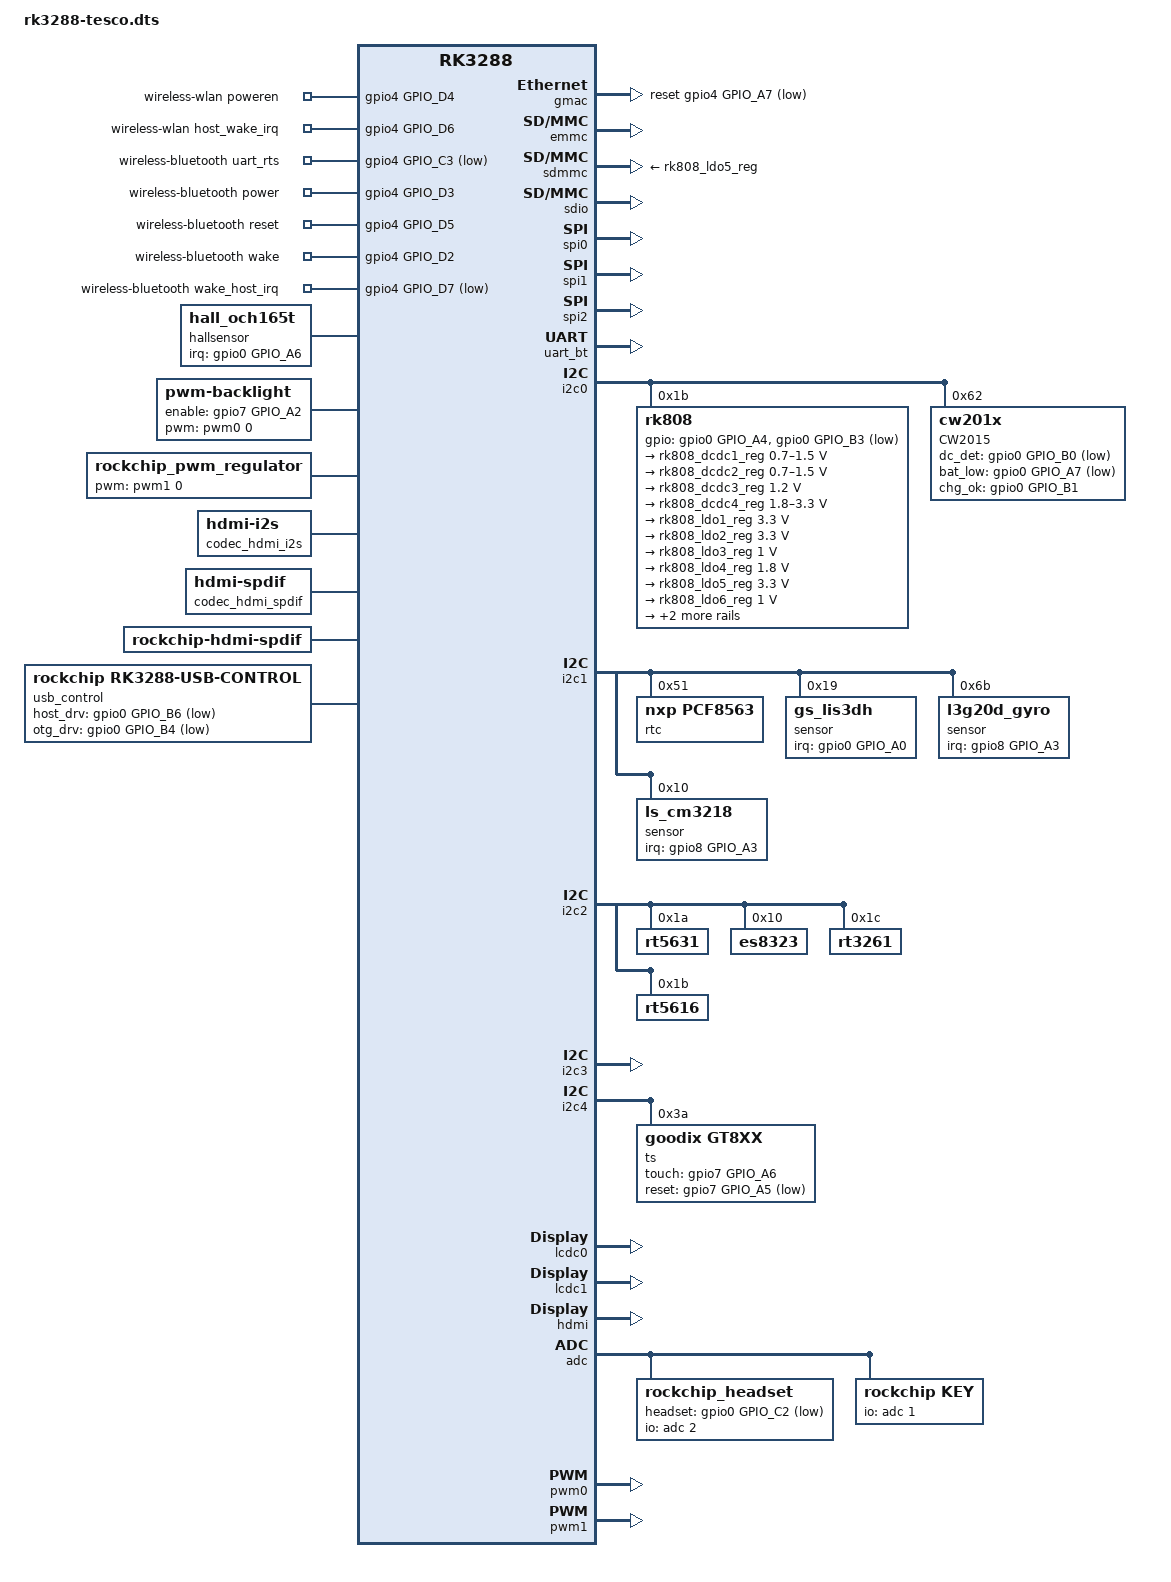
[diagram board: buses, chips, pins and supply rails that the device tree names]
/dts-v1/;

#include "rk3288.dtsi"
//#include "lcd-b101ew05.dtsi"
#include "lcd-ld089wu1-mipi.dtsi"
/ {
	fiq-debugger {
		status = "okay";
	};

    wireless-wlan {
        compatible = "wlan-platdata";

        wifi_chip_type = "";
        sdio_vref = <1800>; //1800mv or 3300mv

        //power_ctrl_by_pmu;
        pmu_regulator = "act_ldo3";
        pmu_enable_level = <1>; //1->HIGH, 0->LOW

        WIFI,poweren_gpio = <&gpio4 GPIO_D4 GPIO_ACTIVE_HIGH>;
        WIFI,host_wake_irq = <&gpio4 GPIO_D6 GPIO_ACTIVE_HIGH>;
        //WIFI,reset_gpio = <&gpio0 GPIO_A2 GPIO_ACTIVE_LOW>;

        status = "okay";
    };

    wireless-bluetooth {
        compatible = "bluetooth-platdata";

        uart_rts_gpios = <&gpio4 GPIO_C3 GPIO_ACTIVE_LOW>;
        pinctrl-names = "default","rts_gpio";
        pinctrl-0 = <&uart0_rts>;
        pinctrl-1 = <&uart0_rts_gpio>;

        BT,power_gpio = <&gpio4 GPIO_D3 GPIO_ACTIVE_HIGH>;
        BT,reset_gpio = <&gpio4 GPIO_D5 GPIO_ACTIVE_HIGH>;
        BT,wake_gpio = <&gpio4 GPIO_D2 GPIO_ACTIVE_HIGH>;
        BT,wake_host_irq = <&gpio4 GPIO_D7 GPIO_ACTIVE_LOW>;

        status = "okay";
    };

    hallsensor {
               compatible = "hall_och165t";
               type = <SENSOR_TYPE_HALL>;
               irq-gpio = <&gpio0 GPIO_A6 IRQ_TYPE_EDGE_BOTH>;
     };

	backlight {
		compatible = "pwm-backlight";
		pwms = <&pwm0 0 25000>;
		brightness-levels = <255 254 253 252 251 250 249 248 247 246 245 244 243 242 241 240 239 238 237 236 235 234 233 232 231 230 229 228 227 226 225 224 223 222 221 220 219 218 217 216 215 214 213 212 211 210 209 208 207 206 205 204 203 202 201 200 199 198 197 196 195 194 193 192 191 190 189 188 187 186 185 184 183 182 181 180 179 178 177 176 175 174 173 172 171 170 169 168 167 166 165 164 163 162 161 160 159 158 157 156 155 154 153 152 151 150 149 148 147 146 145 144 143 142 141 140 139 138 137 136 135 134 133 132 131 130 129 128 127 126 125 124 123 122 121 120 119 118 117 116 115 114 113 112 111 110 109 108 107 106 105 104 103 102 101 100 99 98 97 96 95 94 93 92 91 90 89 88 87 86 85 84 83 82 81 80 79 78 77 76 75 74 73 72 71 70 69 68 67 66 65 64 63 62 61 60 59 58 57 56 55 54 53 52 51 50 49 48 47 46 45 44 43 42 41 40 39 38 37 36 35 34 33 32 31 30 29 28 27 26 25 24 23 22 21 20 19 18 17 16 15 14 13 12 11 10 9 8 7 6 5 4 3 2 1 0>;
		default-brightness-level = <200>;
		enable-gpios = <&gpio7 GPIO_A2 GPIO_ACTIVE_HIGH>;
	};

	pwm_regulator {
		compatible = "rockchip_pwm_regulator";
		pwms = <&pwm1 0 25000>;
		rockchip,pwm_id= <1>;
		rockchip,pwm_voltage_map= <925000 950000 975000 1000000 1025000 1050000 1075000 1100000 1125000 1150000 1175000 1200000 1225000 1250000 1275000 1300000 1325000 1350000 1375000 1400000>;
		rockchip,pwm_voltage= <1000000>;
		rockchip,pwm_min_voltage= <925000>;
		rockchip,pwm_max_voltage= <1400000>;
		rockchip,pwm_suspend_voltage= <950000>;
		rockchip,pwm_coefficient= <475>;
		regulators {
			#address-cells = <1>;
			#size-cells = <0>;
			pwm_reg0: regulator@0 {
				regulator-compatible = "pwm_dcdc1";
				regulator-name= "vdd_logic";
				regulator-min-microvolt = <925000>;
				regulator-max-microvolt = <1400000>;
				regulator-always-on;
				regulator-boot-on;
			};
		};
	};

	codec_hdmi_i2s: codec-hdmi-i2s {
		compatible = "hdmi-i2s";
	};

	codec_hdmi_spdif: codec-hdmi-spdif {
		compatible = "hdmi-spdif";
	};

	rockchip-hdmi-i2s {
		compatible = "rockchip-hdmi-i2s";
		dais {
			dai0 {
				audio-codec = <&codec_hdmi_i2s>;
				audio-controller = <&i2s>;
				format = "i2s";
				//continuous-clock;
				//bitclock-inversion;
				//frame-inversion;
				//bitclock-master;
				//frame-master;
			};
		};
	};
	
	rockchip-hdmi-spdif {
		compatible = "rockchip-hdmi-spdif";
		dais {
			dai0 {
				audio-codec = <&codec_hdmi_spdif>;
				audio-controller = <&spdif>;
				format = "spdif";
				//continuous-clock;
				//bitclock-inversion;
				//frame-inversion;
				//bitclock-master;
				//frame-master;
			};
		};		
	};

	rockchip-rt5631 {
		compatible = "rockchip-rt5631";
		dais {
			dai0 {
				audio-codec = <&rt5631>;
				audio-controller = <&i2s>;
				format = "i2s";
				//continuous-clock;
				//bitclock-inversion;
				//frame-inversion;
				//bitclock-master;
				//frame-master;
			};
		};
	};

	rockchip-rt3224 {
		compatible = "rockchip-rt3261";
		dais {
			dai0 {
				audio-codec = <&rt3261>;
				audio-controller = <&i2s>;
				format = "i2s";
				//continuous-clock;
				//bitclock-inversion;
				//frame-inversion;
				//bitclock-master;
				//frame-master;
			};
			dai1 {
				audio-codec = <&rt3261>;
				audio-controller = <&i2s>;
				format = "i2s";
				//continuous-clock;
				//bitclock-inversion;
				//frame-inversion;
				//bitclock-master;
				//frame-master;
			};
		};
	};

	usb_control {
		compatible = "rockchip,rk3288-usb-control";

		host_drv_gpio = <&gpio0 GPIO_B6 GPIO_ACTIVE_LOW>;
		otg_drv_gpio = <&gpio0 GPIO_B4 GPIO_ACTIVE_LOW>;

		rockchip,remote_wakeup;
		rockchip,usb_irq_wakeup;
	};
};

&gmac {
//	power_ctl_by = "gpio";	//"gpio" "pmu"
	power-gpio = <&gpio0 GPIO_A6 GPIO_ACTIVE_HIGH>;
//	power-pmu = "act_ldo"
	reset-gpio = <&gpio4 GPIO_A7 GPIO_ACTIVE_LOW>;
};

&pinctrl {
	gpio0_gpio {
			gpio0_c2: gpio0-c2 {
				rockchip,pins = <GPIO0_C2>;
				rockchip,pull = <VALUE_PULL_DOWN>;
			};

			//to add
		};
		
	gpio7_gpio {
			gpio7_b7: gpio7-b7 {
				rockchip,pins = <GPIO7_B7>;
				rockchip,pull = <VALUE_PULL_UP>;
			};

			//to add
		};
	//could add other pinctrl definition such as gpio

};

&emmc {
	clock-frequency = <150000000>;
	clock-freq-min-max = <400000 150000000>;
        supports-highspeed;
	supports-emmc;
        bootpart-no-access;

	supports-DDR_MODE;
	caps2-mmc-hs200;

        ignore-pm-notify;
	keep-power-in-suspend;
    	status = "okay";
};
    
&sdmmc {
		clock-frequency = <50000000>;
		lock-freq-min-max = <400000 50000000>;
		supports-highspeed;
		supports-sd;
		broken-cd;
		card-detect-delay = <200>;

		ignore-pm-notify;
        	keep-power-in-suspend;
	
        	vmmc-supply = <&rk808_ldo5_reg>;
		status = "okay";
};
		
&sdio {
		clock-frequency = <50000000>;
		clock-freq-min-max = <200000 50000000>;
		supports-highspeed;
		supports-sdio;
		ignore-pm-notify;
		keep-power-in-suspend;
		//cap-sdio-irq;
		status = "okay";
};

&spi0 {
	status = "okay";
	max-freq = <48000000>;	
	/*
	spi_test@00 {
     		compatible = "rockchip,spi_test_bus0_cs0";
                reg = <0>;
                spi-max-frequency = <24000000>;
                //spi-cpha;
		//spi-cpol;
                poll_mode = <0>;
	        type = <0>;
		enable_dma = <0>;

	};

	spi_test@01 {
	        compatible = "rockchip,spi_test_bus0_cs1";
	        reg = <1>;
	        spi-max-frequency = <24000000>;
	        spi-cpha;
		spi-cpol;
	        poll_mode = <0>;
	        type = <0>;
		enable_dma = <0>;	        
	};
	*/
};

&spi1 {
	status = "okay";
	max-freq = <48000000>;
	/*
	spi_test@10 {
	        compatible = "rockchip,spi_test_bus1_cs0";
	        reg = <0>;
	        spi-max-frequency = <24000000>;
	        //spi-cpha;
		//spi-cpol;
	        poll_mode = <0>;
	        type = <0>;
		enable_dma = <0>;
	};

	*/
};

&spi2 {
	status = "okay";
	max-freq = <48000000>;
	/*
	spi_test@20 {
	        compatible = "rockchip,spi_test_bus2_cs0";
	        reg = <0>;
	        spi-max-frequency = <24000000>;
	        //spi-cpha;
		//spi-cpol;
	        poll_mode = <0>;
	        type = <0>;
		enable_dma = <0>;
	};

	spi_test@21 {
	        compatible = "rockchip,spi_test_bus2_cs1";
	        reg = <1>;
	        spi-max-frequency = <24000000>;
	        //spi-cpha;
		//spi-cpol;
	        poll_mode = <0>;
	        type = <0>;
		enable_dma = <0>;
	};
	*/
};

&uart_bt {
        status = "okay";
        dma-names = "!tx", "!rx";
        pinctrl-0 = <&uart0_xfer &uart0_cts>;
};

&i2c0 {
	status = "okay";
	rk808: rk808@1b {
		reg = <0x1b>;
		status = "okay";
	};
	

	CW2015@62 {
		compatible = "cw201x";
		reg = <0x62>;
		dc_det_gpio = <&gpio0 GPIO_B0 GPIO_ACTIVE_LOW>;
		bat_low_gpio = <&gpio0 GPIO_A7 GPIO_ACTIVE_LOW>;
		chg_ok_gpio = <&gpio0 GPIO_B1 GPIO_ACTIVE_HIGH>;
		bat_config_info = <0x15 0x42 0x60 0x59 0x52 0x58 0x4D 0x48 0x48 0x44 0x44 0x46 0x49 0x48 0x32
			0x24 0x20 0x17 0x13 0x0F 0x19 0x3E 0x51 0x45 0x08 0x76 0x0B 0x85 0x0E 0x1C 0x2E 0x3E 0x4D 0x52 0x52
			0x57 0x3D 0x1B 0x6A 0x2D 0x25 0x43 0x52 0x87 0x8F 0x91 0x94 0x52 0x82 0x8C 0x92 0x96 0xFF 0x7B 0xBB
			0xCB 0x2F 0x7D 0x72 0xA5 0xB5 0xC1 0x46 0xAE>;
		is_dc_charge = <1>;
		is_usb_charge = <0>;
	};
};

&i2c1 {
	status = "okay";
	rtc@51 {
		compatible = "nxp,pcf8563";
		reg = <0x51>;
	};
	
	
		sensor@19 {
		compatible = "gs_lis3dh";
		reg = <0x19>;
		type = <SENSOR_TYPE_ACCEL>;
		irq-gpio = <&gpio0 GPIO_A0 IRQ_TYPE_LEVEL_LOW>;
		irq_enable = <1>;
		poll_delay_ms = <30>;
		layout = <1>;
	};
		
	
		sensor@6b {
		compatible = "l3g20d_gyro";
		reg = <0x6b>;
		type = <SENSOR_TYPE_GYROSCOPE>;
		irq-gpio = <&gpio8 GPIO_A3 IRQ_TYPE_LEVEL_LOW>;
		irq_enable = <1>;
		poll_delay_ms = <30>;
		layout = <1>;
	};
	sensor@10 {
              compatible = "ls_cm3218";
              reg = <0x10>;
              type = <SENSOR_TYPE_LIGHT>;
              irq-gpio = <&gpio8 GPIO_A3 IRQ_TYPE_EDGE_FALLING>;              
              irq_enable = <1>;
              poll_delay_ms = <30>;
              layout = <1>;
       };
	
};

&i2c2 {
	status = "okay";
	rt5631: rt5631@1a {
		compatible = "rt5631";
		reg = <0x1a>;
	};
	es8323: es8323@10 {
		compatible = "es8323";
		reg = <0x10>;
	};
	rt3261: rt3261@1c {
		compatible = "rt3261";
		reg = <0x1c>;
	//	codec-en-gpio = <0>;//sdk default high level
		spk-num= <2>;
		modem-input-mode = <1>;
		lout-to-modem_mode = <1>;
		spk-amplify = <2>;
		playback-if1-data_control = <0>;
		playback-if2-data_control = <0>;
	};
	rt5616: rt5616@1b {
		compatible = "rt5616";
		reg = <0x1b>;
	};
};

&i2c3 {
	status = "okay";
};

&i2c4 {
	status = "okay";
	ts@3a {
		compatible = "goodix,gt8xx";
		reg = <0x3a>;
		touch-gpio = <&gpio7 GPIO_A6 IRQ_TYPE_LEVEL_LOW>;
		reset-gpio = <&gpio7 GPIO_A5 GPIO_ACTIVE_LOW>;
		//power-gpio = <&gpio0 GPIO_C5 GPIO_ACTIVE_LOW>;
		max-x = <1920>;
		max-y = <1200>;
	};
};

&i2c5 {
	status = "disable";
};

&fb {
	rockchip,disp-mode = <DUAL>;
};

&rk_screen {
	 display-timings = <&disp_timings>;
};

/*lcdc0 as PRMRY(LCD),lcdc1 as EXTEND(HDMI)*/
&lcdc0 {
	status = "okay";
	rockchip,mirror = <NO_MIRROR>;
	rockchip,cabc_mode = <0>;
	rockchip,iommu-enabled = <0>;
	power_ctr: power_ctr {
		rockchip,debug = <0>;

		lcd_en:lcd_en {
			rockchip,power_type = <GPIO>;
			gpios = <&gpio7 GPIO_A3 GPIO_ACTIVE_HIGH>;
			rockchip,delay = <10>;
		};
		
		lcd_cs:lcd_cs {
			rockchip,power_type = <GPIO>;
			gpios = <&gpio7 GPIO_A4 GPIO_ACTIVE_HIGH>;
			rockchip,delay = <10>;
		};

		/*lcd_rst:lcd_rst {
			rockchip,power_type = <GPIO>;
			gpios = <&gpio3 GPIO_D6 GPIO_ACTIVE_HIGH>;
			rockchip,delay = <5>;
		};*/

	};
};

&lcdc1 {
	status = "okay";
	rockchip,mirror = <NO_MIRROR>;
	rockchip,iommu-enabled = <0>;
};

&hdmi {
	status = "okay";
	rockchips,hdmi_audio_source = <0>;
};

&adc {
	status = "okay";

	rockchip_headset {
		compatible = "rockchip_headset";
		headset_gpio = <&gpio0 GPIO_C2 GPIO_ACTIVE_LOW>;
		pinctrl-names = "default";
		pinctrl-0 = <&gpio0_c2>;
		io-channels = <&adc 2>; 
       /*
               hook_gpio = ;
               hook_down_type = ; //interrupt hook key down status 
		*/       
       };

	key {
		compatible = "rockchip,key";
		io-channels = <&adc 1>;

		vol-up-key {
			linux,code = <115>;
			label = "volume up";
			rockchip,adc_value = <1>;
		};

		vol-down-key {
			linux,code = <114>;
			label = "volume down";
			rockchip,adc_value = <170>;
		};

		power-key {
			gpios = <&gpio0 GPIO_A5 GPIO_ACTIVE_LOW>;
			linux,code = <116>;
			label = "power";
			gpio-key,wakeup;
		};

		menu-key {
			linux,code = <139>;
			label = "menu";
			rockchip,adc_value = <355>;
		};

		home-key {
			linux,code = <102>;
			label = "home";
			rockchip,adc_value = <746>;
		};

		back-key {
			linux,code = <158>;
			label = "back";
			rockchip,adc_value = <560>;
		};

		camera-key {
			linux,code = <212>;
			label = "camera";
			rockchip,adc_value = <450>;
		};
	};
};

&pwm0 {
        status = "okay";
};

&pwm1 {
	status = "okay";
};


&clk_core_dvfs_table {
	operating-points = <
		/* KHz    uV */
		312000 850000
		504000 850000
		816000 950000
		1008000 1000000
		1200000 1050000
		1416000 1150000
		1608000 1250000
		>;
};

&clk_gpu_dvfs_table {
	operating-points = <
		/* KHz    uV */
		100000 850000
		200000 850000
		300000 900000
		400000 1000000
		600000 1250000
		>;
};

&clk_ddr_dvfs_table {
	operating-points = <
		/* KHz    uV */
		200000 1200000
		300000 1200000
		400000 1200000
		>;

	freq_table = <
		/*status		freq(KHz)*/
		SYS_STATUS_NORMAL	400000
		SYS_STATUS_SUSPEND	200000
		SYS_STATUS_VIDEO	300000
		SYS_STATUS_DUALVIEW	500000
		>;
};

/include/ "rk808.dtsi"
&rk808 {
	gpios =<&gpio0 GPIO_A4 GPIO_ACTIVE_HIGH>,<&gpio0 GPIO_B3 GPIO_ACTIVE_LOW>;
	rk808,system-power-controller;

	regulators {
		
		rk808_dcdc1_reg: regulator@0{
			regulator-name= "vdd_arm";
			regulator-min-microvolt = <700000>;
			regulator-max-microvolt = <1500000>;
			regulator-always-on;
			regulator-boot-on;
			regulator-initial-mode = <0x2>;
			regulator-initial-state = <3>;
			regulator-state-mem {
				regulator-state-mode = <0x2>;
				regulator-state-disabled;
				regulator-state-uv = <900000>;
			};
		};

		rk808_dcdc2_reg: regulator@1 {
			regulator-name= "vdd_gpu";
			regulator-min-microvolt = <700000>;
			regulator-max-microvolt = <1500000>;
			regulator-always-on;
			regulator-boot-on;
			regulator-initial-mode = <0x2>;
			regulator-initial-state = <3>;
			regulator-state-mem {
				regulator-state-mode = <0x2>;
				regulator-state-disabled;
				regulator-state-uv = <900000>;
			};
		};

		rk808_dcdc3_reg: regulator@2 {
			regulator-name= "rk_dcdc3";
			regulator-min-microvolt = <1200000>;
			regulator-max-microvolt = <1200000>;
			regulator-always-on;
			regulator-boot-on;
			regulator-initial-mode = <0x2>;
			regulator-initial-state = <3>;
			regulator-state-mem {
				regulator-state-mode = <0x2>;
				regulator-state-enabled;
				regulator-state-uv = <1200000>;
			};
		};

		rk808_dcdc4_reg: regulator@3 {
			regulator-name= "vccio";
			regulator-min-microvolt = <1800000>;
			regulator-max-microvolt = <3300000>;
			regulator-always-on;
			regulator-boot-on;
			regulator-initial-mode = <0x2>;
			regulator-initial-state = <3>;
			regulator-state-mem {
				regulator-state-mode = <0x2>;
				regulator-state-enabled;
				regulator-state-uv = <2800000>;
			};
		};

		rk808_ldo1_reg: regulator@4 {
			regulator-name= "rk_ldo1";
			regulator-min-microvolt = <3300000>;
			regulator-max-microvolt = <3300000>;
			regulator-always-on;
			regulator-boot-on;
			regulator-initial-state = <3>;
			regulator-state-mem {
				regulator-state-enabled;
				regulator-state-uv = <3300000>;
			};
		};

		rk808_ldo2_reg: regulator@5 {
			regulator-name= "rk_ldo2";
			regulator-min-microvolt = <3300000>;
			regulator-max-microvolt = <3300000>;
			regulator-always-on;
			regulator-boot-on;
			regulator-initial-state = <3>;
			regulator-state-mem {
				regulator-state-enabled;
				regulator-state-uv = <3300000>;
			};
		};

		rk808_ldo3_reg: regulator@6 {
			regulator-name= "rk_ldo3";
			regulator-min-microvolt = <1000000>;
			regulator-max-microvolt = <1000000>;
			regulator-always-on;
			regulator-boot-on;
			regulator-initial-state = <3>;
			regulator-state-mem {
				regulator-state-enabled;
				regulator-state-uv = <1000000>;
			};
		};

		rk808_ldo4_reg:regulator@7 {
			regulator-name= "rk_ldo4";
			regulator-min-microvolt = <1800000>;
			regulator-max-microvolt = <1800000>;
			regulator-always-on;
			regulator-boot-on;
			regulator-initial-state = <3>;
			regulator-state-mem {
				regulator-state-disabled;
				regulator-state-uv = <1800000>;
			};
		};

		rk808_ldo5_reg: regulator@8 {
			regulator-name= "rk_ldo5";
			regulator-min-microvolt = <3300000>;
			regulator-max-microvolt = <3300000>;
			regulator-always-on;
			regulator-boot-on;
			regulator-initial-state = <3>;
			regulator-state-mem {
				regulator-state-enabled;
				regulator-state-uv = <2800000>;
			};
		};

		rk808_ldo6_reg: regulator@9 {
			regulator-name= "rk_ldo6";
			regulator-min-microvolt = <1000000>;
			regulator-max-microvolt = <1000000>;
			regulator-always-on;
			regulator-boot-on;
			regulator-initial-state = <3>;
			regulator-state-mem {
				regulator-state-disabled;
				regulator-state-uv = <1000000>;
			};
		};

		rk808_ldo7_reg: regulator@10 {
			regulator-name= "rk_ldo7";
			regulator-min-microvolt = <1800000>;
			regulator-max-microvolt = <1800000>;
			regulator-always-on;
			regulator-boot-on;
			regulator-initial-state = <3>;
			regulator-state-mem {
				regulator-state-enabled;
				regulator-state-uv = <1800000>;
			};
		};

		rk808_ldo8_reg: regulator@11 {
			regulator-name= "rk_ldo8";
			regulator-min-microvolt = <3300000>;
			regulator-max-microvolt = <3300000>;
			regulator-always-on;
			regulator-boot-on;
			regulator-initial-state = <3>;
			regulator-state-mem {
				regulator-state-enabled;
				regulator-state-uv = <3300000>;
			};
		};
	};
};
